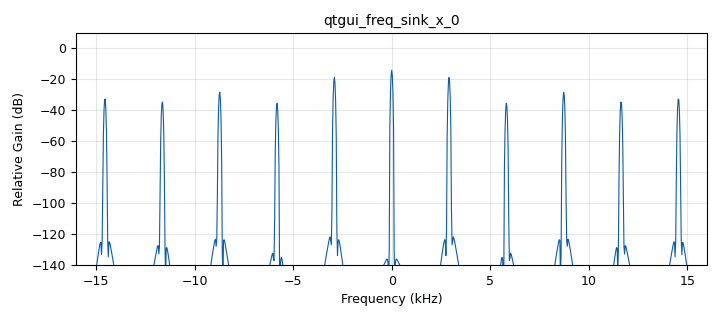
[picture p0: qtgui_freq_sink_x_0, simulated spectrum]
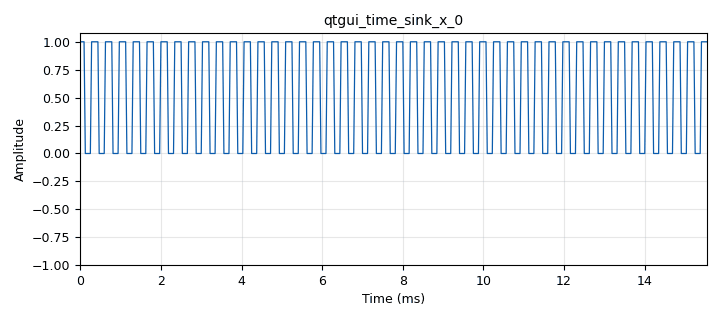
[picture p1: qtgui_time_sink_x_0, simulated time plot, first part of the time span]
options:
  parameters:
    author: labcom
    generate_options: qt_gui
    id: Lab0
    output_language: python
    title: Not titled yet
  states: {}

blocks:
- name: frequency
  id: variable
  parameters:
    value: samp_rate/11
  states: {}
- name: samp_rate
  id: variable
  parameters:
    value: '32000'
  states: {}
- name: analog_sig_source_x_1
  id: analog_sig_source_x
  parameters:
    amp: '1'
    freq: frequency
    offset: '0'
    phase: '0'
    samp_rate: samp_rate
    type: float
    waveform: analog.GR_SQR_WAVE
  states: {}
- name: blocks_throttle_0
  id: blocks_throttle
  parameters:
    samples_per_second: samp_rate
    type: float
  states: {}
- name: qtgui_freq_sink_x_0
  id: qtgui_freq_sink_x
  parameters:
    bw: samp_rate
    fc: '0'
    fftsize: '1024'
    type: float
  states: {}
- name: qtgui_time_sink_x_0
  id: qtgui_time_sink_x
  parameters:
    size: '1024'
    srate: samp_rate
    type: float
  states: {}

connections:
- [analog_sig_source_x_1, '0', blocks_throttle_0, '0']
- [blocks_throttle_0, '0', qtgui_freq_sink_x_0, '0']
- [blocks_throttle_0, '0', qtgui_time_sink_x_0, '0']

metadata:
  file_format: 1
  grc_version: 3.9.8.0
